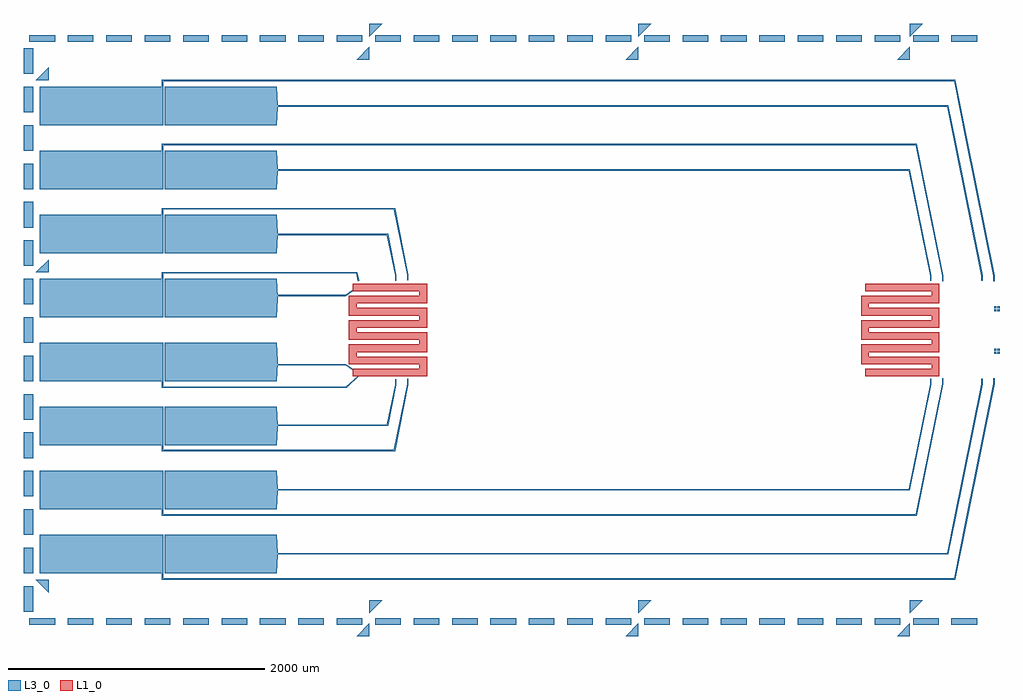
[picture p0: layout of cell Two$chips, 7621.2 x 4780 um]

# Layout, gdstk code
import gdstk
lib = gdstk.Library(unit=1e-6, precision=1e-09)
def R(c, l, rs):  # rectangles x0, y0, x1, y1
    for r in rs: c.add(gdstk.rectangle(r[:2], r[2:], *l))
def A(c, l, x, y, w, h, nx, ny, dx, dy):  # array of equal rectangles
    R(c, l, [(x+i*dx, y+j*dy, x+i*dx+w, y+j*dy+h) for i in range(nx) for j in range(ny)])
def P(c, l, *ps):  # polygons
    for p in ps: c.add(gdstk.Polygon(p, *l))
L1_0 = (1, 0)
L3_0 = (3, 0)

electrodes_1000_ppm = lib.new_cell('Electrodes$1000$ppm')
A(electrodes_1000_ppm, L3_0, -8200, -2300, 200, 50, 25, 2, 300, 4550)
A(electrodes_1000_ppm, L3_0, -8246.2, -2200, 76.2, 200, 1, 15, 0, 300)
A(electrodes_1000_ppm, L3_0, -8120, -900, 965, 300, 1, 3, 0, 500)
R(electrodes_1000_ppm, L3_0, [(-665,-185,-648.5,-168.5), (-641.5,-185,-625,-168.5), (-665,-161.5,-648.5,-145), (-641.5,-161.5,-625,-145), (-665,145,-648.5,161.5), (-641.5,145,-625,161.5), (-665,168.5,-648.5,185), (-641.5,168.5,-625,185), (-6260.005,744.97,-6260.003,755.052), (-8120,1100,-7155,1400), (-8120,1600,-7155,1900)])
P(electrodes_1000_ppm, L3_0, [(-6260.007,1744.97),(-6260.005,1755.052),(-6260.003,1755.052),(-6260.003,1744.97)],
  [(-6260.008,1244.97),(-6260.006,1255.052),(-6260.003,1255.052),(-6260.003,1244.97)],
  [(-6260.003,244.97),(-6260.011,244.971),(-6260.005,255.052),(-6260.003,255.052)],
  [(-6260.29,-255.122),(-6260.004,-244.948),(-6260.003,-244.948),(-6260.003,-255.03)],
  [(-6260.081,-755.037),(-6260.005,-744.948),(-6260.003,-744.948),(-6260.003,-755.03)],
  [(-6260.012,-1255.03),(-6260.005,-1244.948),(-6260.003,-1244.948),(-6260.003,-1255.03)],
  [(-6260.021,-1755.031),(-6260.005,-1744.948),(-6260.003,-1744.948),(-6260.003,-1755.03)],
  [(-8120,600),(-8120,900),(-7165,900),(-7155,900.02),(-7155,600)],
  [(-8120,-1400),(-8120,-1100),(-7165,-1100),(-7155,-1099.998),(-7155,-1400)],
  [(-8120,-1900),(-8120,-1600),(-7165,-1600),(-7155,-1600.003),(-7155,-1900)],
  [(-7145,-1900),(-7145,-1600),(-6270,-1600),(-6260,-1745),(-6260,-1755),(-6270,-1900)],
  [(-7145,-1400),(-7145,-1100),(-6270,-1100),(-6260,-1245),(-6260,-1255),(-6270,-1400)],
  [(-7145,-900),(-7145,-600),(-6270,-600),(-6260,-745),(-6260,-755),(-6270,-900)],
  [(-7145,1100),(-7145,1400),(-6270,1400),(-6260,1255),(-6260,1245),(-6270,1100)],
  [(-7145,-400),(-7145,-100),(-6270,-100),(-6260,-245),(-6260,-255),(-6270,-400)],
  [(-7145,100),(-7145,400),(-6270,400),(-6260,255),(-6260,245),(-6270,100)],
  [(-7145,600),(-7145,900),(-6270,900),(-6260,755),(-6260,745),(-6270,600)],
  [(-7145,1600),(-7145,1900),(-6270,1900),(-6260,1755),(-6260,1745),(-6270,1600)],
  [(-1325,-2210),(-1325,-2110),(-1225,-2110)],
  [(-1425,-2390),(-1325,-2290),(-1325,-2390)],
  [(-3445,-2210),(-3445,-2110),(-3345,-2110)],
  [(-3545,-2390),(-3445,-2290),(-3445,-2390)],
  [(-5545,-2210),(-5545,-2110),(-5445,-2110)],
  [(-5645,-2390),(-5545,-2290),(-5545,-2390)],
  [(-1425,-2390),(-1325,-2290),(-1325,-2390)],
  [(-1325,-2210),(-1325,-2110),(-1225,-2110)],
  [(-1325,2290),(-1325,2390),(-1225,2390)],
  [(-1425,2110),(-1325,2210),(-1325,2110)],
  [(-3445,2290),(-3445,2390),(-3345,2390)],
  [(-3545,2110),(-3445,2210),(-3445,2110)],
  [(-5545,2290),(-5545,2390),(-5445,2390)],
  [(-5645,2110),(-5545,2210),(-5545,2110)],
  [(-8050,-2050),(-8150,-1950),(-8050,-1950)],
  [(-8150,450),(-8050,550),(-8050,450)],
  [(-8150,1950),(-8050,2050),(-8050,1950)])

pt100_rtd = lib.new_cell('PT100_RTD')
P(pt100_rtd, L1_0, [(475,387.5),(475,447.5),(995,447.5),(995,482.5),(445,482.5),(445,637.5),(995,637.5),(995,672.5),(445,672.5),(445,827.5),(995,827.5),(995,862.5),(445,862.5),(445,1017.5),(995,1017.5),(995,1052.5),(475,1052.5),(475,1112.5),(1055,1112.5),(1055,957.5),(505,957.5),(505,922.5),(1055,922.5),(1055,767.5),(505,767.5),(505,732.5),(1055,732.5),(1055,577.5),(505,577.5),(505,542.5),(1055,542.5),(1055,387.5)])

two_chips = lib.new_cell('Two$chips')
R(two_chips, L3_0, [(-6264.827,-275.525,-5730.879,-265.525), (-6264.827,265.209,-5730.879,275.209)])
P(two_chips, L3_0, [(-5730.879,265.201),(-5730.879,275.159),(-5674,313.941),(-5674,303.177)],
  [(-5674.963,-314.71),(-5730.879,-275.525),(-5730.879,-265.525),(-5674.963,-302.81)],
  [(-7165,-452.791),(-7165,-397.791),(-7155,-397.791),(-7155,-442.791),(-5730.879,-442.791),(-5632.996,-356.493),(-5622.996,-356.493),(-5720.879,-452.791)],
  [(-6260.827,-749.62),(-6260.827,-739.62),(-5407.943,-739.62),(-5345.072,-427.82),(-5345.072,-385.173),(-5335.072,-385.173),(-5335.072,-428.824),(-5399.756,-749.62)],
  [(-7165,-946.886),(-7165,-891.886),(-7155,-891.886),(-7155,-936.886),(-5353.253,-936.886),(-5250.072,-425.172),(-5250.072,-382.525),(-5240.072,-382.525),(-5240.072,-426.176),(-5345.066,-946.886)],
  [(-5635.996,381.177),(-5648.356,442.475),(-7155,442.475),(-7155,397.475),(-7165,397.475),(-7165,452.475),(-5640.17,452.475),(-5626.192,383.153)],
  [(-5345.072,385.762),(-5345.072,428.409),(-5407.943,740.209),(-6260.827,740.209),(-6260.827,750.209),(-5399.756,750.209),(-5335.072,429.413),(-5335.072,385.762)],
  [(-5250.072,388.114),(-5250.072,430.761),(-5353.253,942.475),(-7155,942.475),(-7155,897.475),(-7165,897.475),(-7165,952.475),(-5345.066,952.475),(-5240.072,431.765),(-5240.072,388.114)],
  [(-6260.827,-1252.525),(-6260.827,-1242.525),(-1332.783,-1242.525),(-1167.5,-422.82),(-1167.5,-380.173),(-1157.5,-380.173),(-1157.5,-423.824),(-1324.596,-1252.525)],
  [(-7165,-1449.791),(-7165,-1394.791),(-7155,-1394.791),(-7155,-1439.791),(-1278.093,-1439.791),(-1072.5,-420.172),(-1072.5,-377.525),(-1062.5,-377.525),(-1062.5,-421.176),(-1269.906,-1449.791)],
  [(-6260.827,-1752.525),(-6260.827,-1742.525),(-1033.601,-1742.525),(-981.716,-1485.208),(-767.5,-422.82),(-767.5,-380.173),(-757.5,-380.173),(-757.5,-423.824),(-971.912,-1487.184),(-1025.414,-1752.525)],
  [(-1167.5,382.857),(-1167.5,425.504),(-1332.783,1245.209),(-6260.827,1245.209),(-6260.827,1255.209),(-1324.596,1255.209),(-1157.5,426.508),(-1157.5,382.857)],
  [(-7165,-1949.791),(-7165,-1894.791),(-7155,-1894.791),(-7155,-1939.791),(-978.911,-1939.791),(-886.716,-1482.56),(-672.5,-420.172),(-672.5,-377.525),(-662.5,-377.525),(-662.5,-421.176),(-876.912,-1484.536),(-970.724,-1949.791)],
  [(-1072.5,380.209),(-1072.5,422.856),(-1278.093,1442.475),(-7155,1442.475),(-7155,1397.475),(-7165,1397.475),(-7165,1452.475),(-1269.906,1452.475),(-1062.5,423.86),(-1062.5,380.209)],
  [(-767.5,382.857),(-767.5,425.504),(-981.716,1487.892),(-1033.601,1745.209),(-6260.827,1745.209),(-6260.827,1755.209),(-1025.414,1755.209),(-971.912,1489.868),(-757.5,426.508),(-757.5,382.857)],
  [(-672.5,380.209),(-672.5,422.856),(-886.716,1485.244),(-978.911,1942.475),(-7155,1942.475),(-7155,1897.475),(-7165,1897.475),(-7165,1952.475),(-970.724,1952.475),(-876.912,1487.22),(-662.5,423.86),(-662.5,380.209)])
two_chips.add(gdstk.Reference(electrodes_1000_ppm, (0,0)))
two_chips.add(gdstk.Reference(pt100_rtd, (-6150,-750)))
two_chips.add(gdstk.Reference(pt100_rtd, (-2150,-750)))

lib.write_gds('Two_chips.gds')
